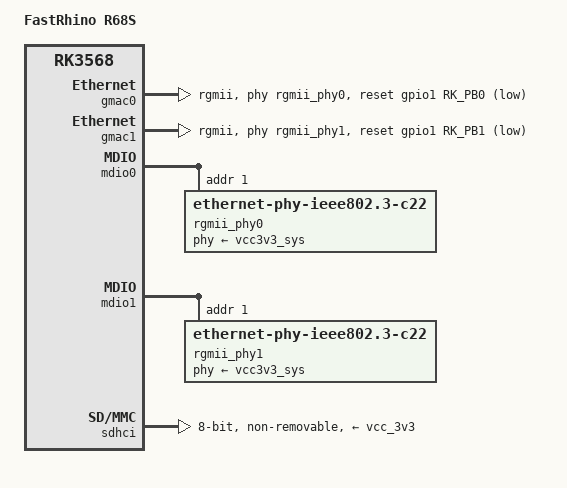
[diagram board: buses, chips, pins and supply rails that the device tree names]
// SPDX-License-Identifier: (GPL-2.0+ OR MIT)

/dts-v1/;

#include "rk3568-fastrhino.dtsi"

/ {
	model = "FastRhino R68S";
	compatible = "fastrhino,r68s", "rockchip,rk3568";

	aliases {
		ethernet0 = &gmac0;
		ethernet1 = &gmac1;
		mmc0 = &sdhci;
	};
};

&gmac0 {
	status = "okay";

	pinctrl-names = "default";
	pinctrl-0 = <&gmac0_miim
		     &gmac0_tx_bus2
		     &gmac0_rx_bus2
		     &gmac0_rgmii_clk
		     &gmac0_rgmii_bus>;

	assigned-clocks = <&cru SCLK_GMAC0_RX_TX>, <&cru SCLK_GMAC0>;
	assigned-clock-parents = <&cru SCLK_GMAC0_RGMII_SPEED>, <&cru CLK_MAC0_2TOP>;
	assigned-clock-rates = <0>, <125000000>;
	clock_in_out = "output";

	phy-mode = "rgmii";
	phy-handle = <&rgmii_phy0>;

	tx_delay = <0x39>;
	rx_delay = <0x2d>;

	snps,reset-gpio = <&gpio1 RK_PB0 GPIO_ACTIVE_LOW>;
	snps,reset-active-low;
	/* Reset time is 20ms, 100ms for rtl8211f */
	snps,reset-delays-us = <0 20000 100000>;
};

&gmac1 {
	status = "okay";

	pinctrl-names = "default";
	pinctrl-0 = <&gmac1m1_miim
		     &gmac1m1_tx_bus2
		     &gmac1m1_rx_bus2
		     &gmac1m1_rgmii_clk
		     &gmac1m1_rgmii_bus>;

	assigned-clocks = <&cru SCLK_GMAC1_RX_TX>, <&cru SCLK_GMAC1>;
	assigned-clock-parents = <&cru SCLK_GMAC1_RGMII_SPEED>, <&cru CLK_MAC1_2TOP>;
	assigned-clock-rates = <0>, <125000000>;
	clock_in_out = "output";

	phy-mode = "rgmii";
	phy-handle = <&rgmii_phy1>;
	tx_delay = <0x43>;
	rx_delay = <0x28>;

	snps,reset-gpio = <&gpio1 RK_PB1 GPIO_ACTIVE_LOW>;
	snps,reset-active-low;
	/* Reset time is 20ms, 100ms for rtl8211f */
	snps,reset-delays-us = <0 20000 100000>;
};

&mdio0 {
	rgmii_phy0: ethernet-phy@1 {
		compatible = "ethernet-phy-ieee802.3-c22";
		phy-supply = <&vcc3v3_sys>;
		reg = <0x1>;
	};
};

&mdio1 {
	rgmii_phy1: ethernet-phy@1 {
		compatible = "ethernet-phy-ieee802.3-c22";
		phy-supply = <&vcc3v3_sys>;
		reg = <0x1>;
	};
};

&sdhci {
	bus-width = <8>;
	max-frequency = <200000000>;
	mmc-ddr-1_8v;
	mmc-hs200-1_8v;
	non-removable;
	pinctrl-names = "default";
	pinctrl-0 = <&emmc_bus8 &emmc_clk &emmc_cmd &emmc_datastrobe>;
	vmmc-supply = <&vcc_3v3>;
	vqmmc-supply = <&vcc_1v8>;
	status = "okay";
};

&rtl8125_1 {
	label = "eth2";
};

&rtl8125_2 {
	label = "eth3";
};
